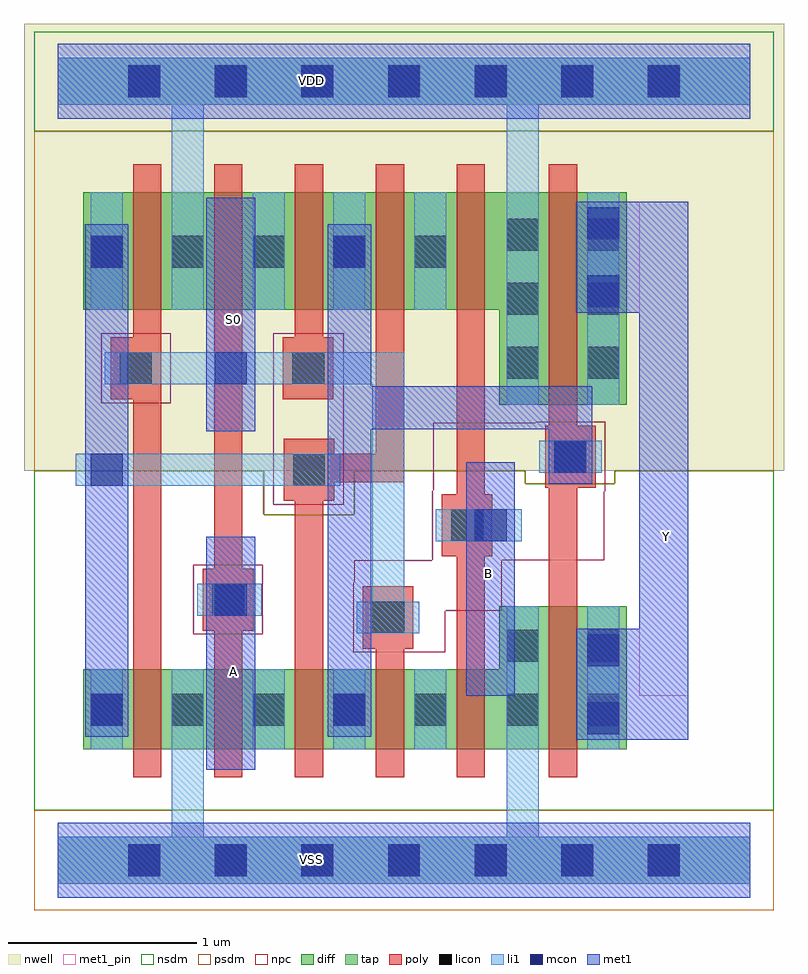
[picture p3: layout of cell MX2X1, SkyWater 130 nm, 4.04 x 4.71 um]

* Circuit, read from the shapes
.subckt MX2X1 A B S0 VDD VSS Y
XM1 VSS S0 n1 VSS sky130_fd_pr__nfet_01v8 w=0.425 l=0.15
XM2 n2 A VSS VSS sky130_fd_pr__nfet_01v8 w=0.425 l=0.15
XM3 n3 n1 n2 VSS sky130_fd_pr__nfet_01v8 w=0.425 l=0.15
XM4 n4 S0 n3 VSS sky130_fd_pr__nfet_01v8 w=0.425 l=0.15
XM5 VSS B n4 VSS sky130_fd_pr__nfet_01v8 w=0.425 l=0.15
XM6 Y n3 VSS VSS sky130_fd_pr__nfet_01v8 w=0.76 l=0.15
XM7 VDD S0 n1 VDD sky130_fd_pr__pfet_01v8 w=0.625 l=0.15
XM8 n5 A VDD VDD sky130_fd_pr__pfet_01v8 w=0.625 l=0.15
XM9 n3 S0 n5 VDD sky130_fd_pr__pfet_01v8 w=0.625 l=0.15
XM10 n6 n1 n3 VDD sky130_fd_pr__pfet_01v8 w=0.625 l=0.15
XM11 VDD B n6 VDD sky130_fd_pr__pfet_01v8 w=0.625 l=0.15
XM12 Y n3 VDD VDD sky130_fd_pr__pfet_01v8 w=1.13 l=0.15
.ends

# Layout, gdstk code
from math import pi, radians
import gdstk
lib = gdstk.Library(unit=1e-6, precision=1e-09)
def R(c, l, rs):  # rectangles x0, y0, x1, y1
    for r in rs: c.add(gdstk.rectangle(r[:2], r[2:], *l))
def A(c, l, x, y, w, h, nx, ny, dx, dy):  # array of equal rectangles
    R(c, l, [(x+i*dx, y+j*dy, x+i*dx+w, y+j*dy+h) for i in range(nx) for j in range(ny)])
def P(c, l, *ps):  # polygons
    for p in ps: c.add(gdstk.Polygon(p, *l))
nwell = (64, 20)
diff = (65, 20)
tap = (65, 44)
poly = (66, 20)
licon = (66, 44)
li1 = (67, 20)
mcon = (67, 44)
met1_pin = (68, 16)
met1 = (68, 20)
nsdm = (93, 44)
psdm = (94, 20)
npc = (95, 20)

pfet_01v8_cdns_716492285 = lib.new_cell('pfet_01v8_CDNS_7164922852227')
R(pfet_01v8_cdns_716492285, nwell, [(-0.235,-0.18,0.555,0.805)])
R(pfet_01v8_cdns_716492285, diff, [(-0.055,0,0,0.625), (0,0,0.15,0.625), (0.15,0,0.375,0.625)])
R(pfet_01v8_cdns_716492285, poly, [(0,-0.15,0.15,-0.095), (0,-0.095,0.15,0), (0,0,0.15,0.625), (0,0.625,0.15,0.72), (0,0.72,0.15,0.775)])
R(pfet_01v8_cdns_716492285, psdm, [(-0.065,-0.13,0.385,0.755)])

nfet_01v8_cdns_716492285 = lib.new_cell('nfet_01v8_CDNS_71649228522183')
R(nfet_01v8_cdns_716492285, diff, [(-0.055,0,0,0.425), (0,0,0.15,0.425), (0.15,0,0.205,0.425)])
R(nfet_01v8_cdns_716492285, poly, [(0,-0.15,0.15,-0.095), (0,-0.095,0.15,0), (0,0,0.15,0.425), (0,0.425,0.15,0.52), (0,0.52,0.15,0.575)])
R(nfet_01v8_cdns_716492285, nsdm, [(-0.065,-0.13,0.215,0.555)])

c_nfet_01v8_cdns_716492285 = lib.new_cell('nfet_01v8_CDNS_71649228522184')
R(c_nfet_01v8_cdns_716492285, diff, [(-0.055,0,0,0.425), (0,0,0.15,0.425), (0.15,0,0.375,0.425)])
R(c_nfet_01v8_cdns_716492285, poly, [(0,-0.15,0.15,-0.095), (0,-0.095,0.15,0), (0,0,0.15,0.425), (0,0.425,0.15,0.52), (0,0.52,0.15,0.575)])
R(c_nfet_01v8_cdns_716492285, nsdm, [(-0.065,-0.13,0.385,0.555)])

c_nfet_01v8_cdns_716492285_ = lib.new_cell('nfet_01v8_CDNS_71649228522185')
R(c_nfet_01v8_cdns_716492285_, diff, [(-0.055,0,0,0.425), (0,0,0.15,0.425), (0.15,0,0.375,0.425)])
R(c_nfet_01v8_cdns_716492285_, poly, [(0,-0.15,0.15,-0.095), (0,-0.095,0.15,0), (0,0,0.15,0.425), (0,0.425,0.15,0.52), (0,0.52,0.15,0.575)])
R(c_nfet_01v8_cdns_716492285_, licon, [(0.205,0.125,0.375,0.295)])
R(c_nfet_01v8_cdns_716492285_, li1, [(0.205,0,0.375,0.425)])
R(c_nfet_01v8_cdns_716492285_, nsdm, [(-0.065,-0.13,0.385,0.555)])

c_pfet_01v8_cdns_716492285 = lib.new_cell('pfet_01v8_CDNS_7164922852222')
R(c_pfet_01v8_cdns_716492285, nwell, [(-0.235,-0.18,0.555,0.805)])
R(c_pfet_01v8_cdns_716492285, diff, [(-0.055,0,0,0.625), (0,0,0.15,0.625), (0.15,0,0.375,0.625)])
R(c_pfet_01v8_cdns_716492285, poly, [(0,-0.15,0.15,-0.095), (0,-0.095,0.15,0), (0,0,0.15,0.625), (0,0.625,0.15,0.72), (0,0.72,0.15,0.775)])
R(c_pfet_01v8_cdns_716492285, licon, [(0.205,0.225,0.375,0.395)])
R(c_pfet_01v8_cdns_716492285, li1, [(0.205,0,0.375,0.625)])
R(c_pfet_01v8_cdns_716492285, psdm, [(-0.065,-0.13,0.385,0.755)])

c_pfet_01v8_cdns_716492285_ = lib.new_cell('pfet_01v8_CDNS_7164922852219')
R(c_pfet_01v8_cdns_716492285_, nwell, [(-0.405,-0.18,0.595,0.805)])
R(c_pfet_01v8_cdns_716492285_, diff, [(-0.225,0,0,0.625), (0,0,0.15,0.625), (0.15,0,0.415,0.625)])
R(c_pfet_01v8_cdns_716492285_, poly, [(0,-0.15,0.15,-0.095), (0,-0.095,0.15,0), (0,0,0.15,0.625), (0,0.625,0.15,0.72), (0,0.72,0.15,0.775)])
R(c_pfet_01v8_cdns_716492285_, licon, [(-0.225,0.225,-0.055,0.395), (0.205,0.225,0.375,0.395)])
R(c_pfet_01v8_cdns_716492285_, li1, [(-0.225,0,-0.055,0.625), (0.205,0,0.375,0.625)])
R(c_pfet_01v8_cdns_716492285_, psdm, [(-0.235,-0.13,0.555,0.755)])

c_nfet_01v8_cdns_716492285__ = lib.new_cell('nfet_01v8_CDNS_7164922852234')
R(c_nfet_01v8_cdns_716492285__, diff, [(-0.265,0,0,0.76), (0,0,0.15,0.76), (0.15,0,0.415,0.76)])
R(c_nfet_01v8_cdns_716492285__, poly, [(0,-0.15,0.15,-0.095), (0,-0.095,0.15,0), (0,0,0.15,0.76), (0,0.76,0.15,0.855), (0,0.855,0.15,0.91)])
R(c_nfet_01v8_cdns_716492285__, licon, [(-0.225,0.125,-0.055,0.295), (0.205,0.125,0.375,0.295), (-0.225,0.465,-0.055,0.635), (0.205,0.465,0.375,0.635)])
R(c_nfet_01v8_cdns_716492285__, li1, [(-0.225,0,-0.055,0.76), (0.205,0,0.375,0.76)])
R(c_nfet_01v8_cdns_716492285__, nsdm, [(-0.405,-0.13,0.555,0.89)])

c_nfet_01v8_cdns_716492285___ = lib.new_cell('nfet_01v8_CDNS_7164922852247')
R(c_nfet_01v8_cdns_716492285___, diff, [(-0.075,0,0,0.425), (0,0,0.15,0.425), (0.15,0,0.375,0.425)])
R(c_nfet_01v8_cdns_716492285___, poly, [(0,-0.15,0.15,-0.095), (0,-0.095,0.15,0), (0,0,0.15,0.425), (0,0.425,0.15,0.52), (0,0.52,0.15,0.575)])
R(c_nfet_01v8_cdns_716492285___, nsdm, [(0.045,-0.13,0.385,0.555)])

c_nfet_01v8_cdns_716492285____ = lib.new_cell('nfet_01v8_CDNS_716492285226')
R(c_nfet_01v8_cdns_716492285____, diff, [(-0.225,0,0,0.425), (0,0,0.15,0.425), (0.15,0,0.415,0.425)])
R(c_nfet_01v8_cdns_716492285____, poly, [(0,-0.15,0.15,-0.095), (0,-0.095,0.15,0), (0,0,0.15,0.425), (0,0.425,0.15,0.52), (0,0.52,0.15,0.575)])
R(c_nfet_01v8_cdns_716492285____, licon, [(-0.225,0.125,-0.055,0.295), (0.205,0.125,0.375,0.295)])
R(c_nfet_01v8_cdns_716492285____, li1, [(-0.225,0,-0.055,0.425), (0.205,0,0.375,0.425)])
R(c_nfet_01v8_cdns_716492285____, nsdm, [(-0.235,-0.13,0.555,0.555)])

c_pfet_01v8_cdns_716492285__ = lib.new_cell('pfet_01v8_CDNS_7164922852238')
R(c_pfet_01v8_cdns_716492285__, nwell, [(-0.445,-0.18,0.595,1.31)])
R(c_pfet_01v8_cdns_716492285__, diff, [(-0.265,0,0,1.13), (0,0,0.15,1.13), (0.15,0,0.415,1.13)])
R(c_pfet_01v8_cdns_716492285__, poly, [(0,-0.15,0.15,-0.095), (0,-0.095,0.15,0), (0,0,0.15,1.13), (0,1.13,0.15,1.225), (0,1.225,0.15,1.28)])
A(c_pfet_01v8_cdns_716492285__, licon, -0.225, 0.14, 0.17, 0.17, 1, 3, 0, 0.34)
A(c_pfet_01v8_cdns_716492285__, licon, 0.205, 0.14, 0.17, 0.17, 1, 3, 0, 0.34)
R(c_pfet_01v8_cdns_716492285__, li1, [(-0.225,0,-0.055,1.13), (0.205,0,0.375,1.13)])
R(c_pfet_01v8_cdns_716492285__, psdm, [(-0.405,-0.13,0.555,1.26)])

c_pfet_01v8_cdns_716492285___ = lib.new_cell('pfet_01v8_CDNS_71649228522102')
R(c_pfet_01v8_cdns_716492285___, nwell, [(-0.235,-0.18,0.385,0.805)])
R(c_pfet_01v8_cdns_716492285___, diff, [(-0.055,0,0,0.625), (0,0,0.15,0.625), (0.15,0,0.205,0.625)])
R(c_pfet_01v8_cdns_716492285___, poly, [(0,-0.15,0.15,-0.095), (0,-0.095,0.15,0), (0,0,0.15,0.625), (0,0.625,0.15,0.72), (0,0.72,0.15,0.775)])
R(c_pfet_01v8_cdns_716492285___, psdm, [(-0.065,-0.13,0.215,0.755)])

c_pfet_01v8_cdns_716492285____ = lib.new_cell('pfet_01v8_CDNS_7164922852251')
R(c_pfet_01v8_cdns_716492285____, nwell, [(-0.255,-0.18,0.555,0.805)])
R(c_pfet_01v8_cdns_716492285____, diff, [(-0.075,0,0,0.625), (0,0,0.15,0.625), (0.15,0,0.375,0.625)])
R(c_pfet_01v8_cdns_716492285____, poly, [(0,-0.15,0.15,-0.095), (0,-0.095,0.15,0), (0,0,0.15,0.625), (0,0.625,0.15,0.72), (0,0.72,0.15,0.775)])
R(c_pfet_01v8_cdns_716492285____, psdm, [(0.045,-0.13,0.385,0.755)])

pyl1con_c_cdns_716492285 = lib.new_cell('PYL1CON_C_CDNS_716492285220')
R(pyl1con_c_cdns_716492285, poly, [(-0.135,-0.165,0.135,0.165)])
R(pyl1con_c_cdns_716492285, licon, [(-0.085,-0.085,0.085,0.085)])
R(pyl1con_c_cdns_716492285, npc, [(-0.185,-0.185,0.185,0.185)])

l1m1_c_cdns_716492285222 = lib.new_cell('L1M1_C_CDNS_716492285222')
R(l1m1_c_cdns_716492285222, li1, [(-0.085,-0.165,0.085,0.165)])
R(l1m1_c_cdns_716492285222, mcon, [(-0.085,-0.085,0.085,0.085)])
R(l1m1_c_cdns_716492285222, met1, [(-0.115,-0.145,0.115,0.145)])

l1m1_c_cdns_716492285223 = lib.new_cell('L1M1_C_CDNS_7164922852233')
R(l1m1_c_cdns_716492285223, li1, [(-0.085,-0.345,0.085,0.345)])
R(l1m1_c_cdns_716492285223, mcon, [(-0.085,-0.265,0.085,-0.095), (-0.085,0.095,0.085,0.265)])
R(l1m1_c_cdns_716492285223, met1, [(-0.145,-0.295,0.195,0.295)])

c_l1m1_c_cdns_716492285223 = lib.new_cell('L1M1_C_CDNS_716492285223')
R(c_l1m1_c_cdns_716492285223, li1, [(-0.165,-0.085,0.165,0.085)])
R(c_l1m1_c_cdns_716492285223, mcon, [(-0.085,-0.085,0.085,0.085)])
R(c_l1m1_c_cdns_716492285223, met1, [(-0.115,-0.145,0.115,0.145)])

licondiff_c_cdns_7164922 = lib.new_cell('LICONDIFF_C_CDNS_7164922852213')
R(licondiff_c_cdns_7164922, diff, [(-0.125,-0.145,0.125,0.145)])
R(licondiff_c_cdns_7164922, licon, [(-0.085,-0.085,0.085,0.085), (-0.085,-0.085,0.085,0.085)])

mx2x1 = lib.new_cell('MX2X1')
R(mx2x1, nwell, [(-0.18,2.07,3.86,4.305), (-0.18,3.875,3.86,4.445)])
A(mx2x1, licon, 0.375, -0.085, 0.17, 0.17, 7, 2, 0.46, 4.14)
A(mx2x1, mcon, 0.375, -0.085, 0.17, 0.17, 7, 2, 0.46, 4.14)
R(mx2x1, met1_pin, [(0.79,0.48,1.05,1.72), (2.17,0.875,2.43,2.115), (3.09,0.875,3.35,3.5), (0.79,2.28,1.05,3.52)])
R(mx2x1, nsdm, [(-0.125,3.875,3.805,4.405), (-0.125,3.93,3.805,4.35)])
P(mx2x1, nsdm, [(3.805,2.07),(2.96,2.07),(2.96,2),(2.485,2),(2.485,2.07),(1.575,2.07),(1.575,1.835),(1.095,1.835),(1.095,2.07),(-0.125,2.07),(-0.125,0.265),(3.805,0.265)])
R(mx2x1, psdm, [(-0.125,-0.265,3.805,0.265), (-0.125,-0.21,3.805,0.21)])
P(mx2x1, psdm, [(3.805,3.875),(-0.125,3.875),(-0.125,2.07),(1.095,2.07),(1.095,1.835),(1.575,1.835),(1.575,2.07),(2.485,2.07),(2.485,2),(2.96,2),(2.96,2.07),(3.805,2.07)])
R(mx2x1, npc, [(1.995,1.595,2.905,2.325), (1.145,1.89,1.52,2.8)])
P(mx2x1, npc, [(2.36,1.595),(1.575,1.595),(1.575,1.105),(2.06,1.105),(2.06,1.325),(2.36,1.325)])
mx2x1.add(gdstk.FlexPath([(1.765,1.11),(1.765,1.35)], 0.15, ends=(0, 0.075), simple_path=True, layer=66, datatype=20))  # poly
mx2x1.add(gdstk.FlexPath([(1.335,2.615),(1.33,2.615)], 0.15, ends=(0.075, 0), simple_path=True, layer=66, datatype=20))  # poly
mx2x1.add(gdstk.FlexPath([(1.335,2.775),(1.335,2.605)], 0.15, ends=(0, 0.075), simple_path=True, layer=66, datatype=20))  # poly
mx2x1.add(gdstk.FlexPath([(1.335,1.165),(1.335,2.085)], 0.15, ends=(0, 0.075), simple_path=True, layer=66, datatype=20))  # poly
mx2x1.add(gdstk.FlexPath([(0.475,2.775),(0.475,1.165)], 0.15, ends="flush", simple_path=True, layer=66, datatype=20))  # poly
mx2x1.add(gdstk.FlexPath([(1.335,2.085),(1.765,2.085)], 0.15, ends="extended", simple_path=True, layer=66, datatype=20))  # poly
mx2x1.add(gdstk.FlexPath([(1.765,2.085),(1.765,2.91)], 0.15, ends=(0.075, 0), simple_path=True, layer=66, datatype=20))  # poly
mx2x1.add(gdstk.FlexPath([(2.685,2.2),(2.685,1.5)], 0.15, ends="flush", simple_path=True, layer=66, datatype=20))  # poly
mx2x1.add(gdstk.FlexPath([(2.195,2.775),(2.195,1.165)], 0.15, ends="flush", simple_path=True, layer=66, datatype=20))  # poly
mx2x1.add(gdstk.FlexPath([(1.765,1.35),(1.755,1.35)], 0.15, ends=(0.075, 0), simple_path=True, layer=66, datatype=20))  # poly
mx2x1.add(gdstk.FlexPath([(0.905,2.775),(0.905,1.165)], 0.15, ends="flush", simple_path=True, layer=66, datatype=20))  # poly
mx2x1.add(gdstk.FlexPath([(1.12,3.025),(1.12,3.405)], 0.17, ends="flush", simple_path=True, layer=67, datatype=20))  # li1
mx2x1.add(gdstk.FlexPath([(1.12,3.405),(1.12,3.55)], 0.17, ends="flush", simple_path=True, layer=67, datatype=20))  # li1
mx2x1.add(gdstk.FlexPath([(1.12,2.925),(1.12,3.025)], 0.17, ends="flush", simple_path=True, layer=67, datatype=20))  # li1
mx2x1.add(gdstk.FlexPath([(1.98,2.925),(1.98,3.025)], 0.17, ends="flush", simple_path=True, layer=67, datatype=20))  # li1
mx2x1.add(gdstk.FlexPath([(1.98,3.405),(1.98,3.55)], 0.17, ends="flush", simple_path=True, layer=67, datatype=20))  # li1
mx2x1.add(gdstk.FlexPath([(1.98,3.025),(1.98,3.405)], 0.17, ends="flush", simple_path=True, layer=67, datatype=20))  # li1
mx2x1.add(gdstk.FlexPath([(1.92,1.29),(1.59,1.29)], 0.17, ends="flush", simple_path=True, layer=67, datatype=20))  # li1
mx2x1.add(gdstk.FlexPath([(1.98,0.69),(1.98,1.015)], 0.17, ends="flush", simple_path=True, layer=67, datatype=20))  # li1
mx2x1.add(gdstk.FlexPath([(1.12,0.59),(1.12,0.69)], 0.17, ends="flush", simple_path=True, layer=67, datatype=20))  # li1
mx2x1.add(gdstk.FlexPath([(0.26,2.075),(1.1,2.075)], 0.17, ends="flush", simple_path=True, layer=67, datatype=20))  # li1
mx2x1.add(gdstk.FlexPath([(1.1,2.075),(1.5,2.075)], 0.17, ends="flush", simple_path=True, layer=67, datatype=20))  # li1
mx2x1.add(gdstk.FlexPath([(2.3,1.78),(2.01,1.78)], 0.17, ends="flush", simple_path=True, layer=67, datatype=20))  # li1
mx2x1.add(gdstk.FlexPath([(0.25,2.615),(1.755,2.615)], 0.17, ends=(0, 0.085), simple_path=True, layer=67, datatype=20))  # li1
mx2x1.add(gdstk.FlexPath([(1.755,2.615),(1.755,1.285)], 0.17, ends=(0.085, 0), simple_path=True, layer=67, datatype=20))  # li1
mx2x1.add(gdstk.FlexPath([(1.12,0.69),(1.12,1.015)], 0.17, ends="flush", simple_path=True, layer=67, datatype=20))  # li1
mx2x1.add(gdstk.FlexPath([(1.98,0.59),(1.98,0.69)], 0.17, ends="flush", simple_path=True, layer=67, datatype=20))  # li1
mx2x1.add(gdstk.FlexPath([(0.92,1.385),(0.74,1.385)], 0.17, ends="flush", simple_path=True, layer=67, datatype=20))  # li1
mx2x1.add(gdstk.FlexPath([(0,4.14),(2.47,4.14)], 0.25, ends=(0, 0.085), simple_path=True, layer=67, datatype=20))  # li1
mx2x1.add(gdstk.FlexPath([(2.47,0),(3.68,0)], 0.25, ends=(0.085, 0), simple_path=True, layer=67, datatype=20))  # li1
mx2x1.add(gdstk.FlexPath([(0.69,0.59),(0.69,0)], 0.17, ends="flush", simple_path=True, layer=67, datatype=20))  # li1
mx2x1.add(gdstk.FlexPath([(0,0),(2.47,0)], 0.25, ends=(0, 0.085), simple_path=True, layer=67, datatype=20))  # li1
mx2x1.add(gdstk.FlexPath([(2.47,0.59),(2.47,0)], 0.17, ends=(0, 0.125), simple_path=True, layer=67, datatype=20))  # li1
mx2x1.add(gdstk.FlexPath([(2.47,3.55),(2.47,4.14)], 0.17, ends=(0, 0.125), simple_path=True, layer=67, datatype=20))  # li1
mx2x1.add(gdstk.FlexPath([(0.69,3.55),(0.69,4.14)], 0.17, ends="flush", simple_path=True, layer=67, datatype=20))  # li1
mx2x1.add(gdstk.FlexPath([(2.47,4.14),(3.68,4.14)], 0.25, ends=(0.085, 0), simple_path=True, layer=67, datatype=20))  # li1
mx2x1.add(gdstk.FlexPath([(3.22,0.64),(3.22,3.5)], 0.26, ends="flush", simple_path=True, layer=68, datatype=20))  # met1
mx2x1.add(gdstk.FlexPath([(0.26,3.235),(0.26,0.8)], 0.23, ends="flush", simple_path=True, layer=68, datatype=20))  # met1
mx2x1.add(gdstk.FlexPath([(2.84,2.405),(1.55,2.405)], 0.23, ends=(0, 0.115), simple_path=True, layer=68, datatype=20))  # met1
mx2x1.add(gdstk.FlexPath([(0.92,2.28),(0.92,3.52)], 0.26, ends="flush", simple_path=True, layer=68, datatype=20))  # met1
mx2x1.add(gdstk.FlexPath([(2.3,2.115),(2.3,0.875)], 0.26, ends="flush", simple_path=True, layer=68, datatype=20))  # met1
mx2x1.add(gdstk.FlexPath([(1.55,0.8),(1.55,3.235)], 0.23, ends="flush", simple_path=True, layer=68, datatype=20))  # met1
mx2x1.add(gdstk.FlexPath([(0.92,0.48),(0.92,1.72)], 0.26, ends="flush", simple_path=True, layer=68, datatype=20))  # met1
mx2x1.add(gdstk.FlexPath([(0,0),(3.68,0)], 0.4, ends="flush", simple_path=True, layer=68, datatype=20))  # met1
mx2x1.add(gdstk.FlexPath([(0,4.14),(3.68,4.14)], 0.4, ends="flush", simple_path=True, layer=68, datatype=20))  # met1
mx2x1.add(gdstk.FlexPath([(0,4.14),(3.68,4.14)], 0.25, ends="flush", simple_path=True, layer=65, datatype=44))  # tap
mx2x1.add(gdstk.FlexPath([(0,0),(3.68,0)], 0.25, ends="flush", simple_path=True, layer=65, datatype=44))  # tap
mx2x1.add(gdstk.FlexPath([(0,0),(3.68,0)], 0.4, ends="flush", simple_path=True, layer=68, datatype=16))  # met1_pin
mx2x1.add(gdstk.FlexPath([(0,4.14),(3.68,4.14)], 0.4, ends="flush", simple_path=True, layer=68, datatype=16))  # met1_pin
mx2x1.add(gdstk.Reference(pfet_01v8_cdns_716492285, (0.83,2.925)))
mx2x1.add(gdstk.Reference(nfet_01v8_cdns_716492285, (1.84,0.59), rotation=pi, x_reflection=True))
mx2x1.add(gdstk.Reference(c_nfet_01v8_cdns_716492285, (0.83,0.59)))
mx2x1.add(gdstk.Reference(c_nfet_01v8_cdns_716492285_, (1.26,0.59)))
mx2x1.add(gdstk.Reference(c_pfet_01v8_cdns_716492285, (1.26,2.925)))
mx2x1.add(gdstk.Reference(c_pfet_01v8_cdns_716492285_, (0.55,2.925), rotation=pi, x_reflection=True))
mx2x1.add(gdstk.Reference(c_nfet_01v8_cdns_716492285__, (2.61,0.59)))
mx2x1.add(gdstk.Reference(c_nfet_01v8_cdns_716492285___, (2.27,0.59), rotation=pi, x_reflection=True))
mx2x1.add(gdstk.Reference(c_nfet_01v8_cdns_716492285____, (0.55,0.59), rotation=pi, x_reflection=True))
mx2x1.add(gdstk.Reference(c_pfet_01v8_cdns_716492285__, (2.61,2.42)))
mx2x1.add(gdstk.Reference(c_pfet_01v8_cdns_716492285___, (1.84,2.925), rotation=pi, x_reflection=True))
mx2x1.add(gdstk.Reference(c_pfet_01v8_cdns_716492285____, (2.27,2.925), rotation=pi, x_reflection=True))
mx2x1.add(gdstk.Reference(pyl1con_c_cdns_716492285, (2.725,2.145), x_reflection=True))
mx2x1.add(gdstk.Reference(pyl1con_c_cdns_716492285, (2.175,1.78), x_reflection=True))
mx2x1.add(gdstk.Reference(pyl1con_c_cdns_716492285, (0.905,1.385), x_reflection=True))
mx2x1.add(gdstk.Reference(pyl1con_c_cdns_716492285, (1.335,2.075), x_reflection=True))
mx2x1.add(gdstk.Reference(pyl1con_c_cdns_716492285, (1.755,1.29), x_reflection=True))
mx2x1.add(gdstk.Reference(pyl1con_c_cdns_716492285, (1.33,2.615), x_reflection=True))
mx2x1.add(gdstk.Reference(pyl1con_c_cdns_716492285, (0.415,2.615), x_reflection=True))
mx2x1.add(gdstk.Reference(l1m1_c_cdns_716492285222, (0.26,3.235)))
mx2x1.add(gdstk.Reference(l1m1_c_cdns_716492285222, (0.26,0.8)))
mx2x1.add(gdstk.Reference(l1m1_c_cdns_716492285222, (1.55,0.8)))
mx2x1.add(gdstk.Reference(l1m1_c_cdns_716492285222, (1.55,3.235)))
mx2x1.add(gdstk.Reference(l1m1_c_cdns_716492285223, (2.9,3.205)))
mx2x1.add(gdstk.Reference(l1m1_c_cdns_716492285223, (2.9,0.935)))
mx2x1.add(gdstk.Reference(c_l1m1_c_cdns_716492285223, (0.92,1.385), x_reflection=True))
mx2x1.add(gdstk.Reference(c_l1m1_c_cdns_716492285223, (2.3,1.78), rotation=pi, x_reflection=True))
mx2x1.add(gdstk.Reference(c_l1m1_c_cdns_716492285223, (2.725,2.145)))
mx2x1.add(gdstk.Reference(c_l1m1_c_cdns_716492285223, (0.92,2.615), x_reflection=True))
mx2x1.add(gdstk.Reference(c_l1m1_c_cdns_716492285223, (0.26,2.075)))
mx2x1.add(gdstk.Reference(licondiff_c_cdns_7164922, (1.98,0.8)))
mx2x1.add(gdstk.Reference(licondiff_c_cdns_7164922, (1.12,0.8)))
mx2x1.add(gdstk.Reference(licondiff_c_cdns_7164922, (1.98,3.235)))
mx2x1.add(gdstk.Reference(licondiff_c_cdns_7164922, (1.12,3.235)))
mx2x1.add(gdstk.Label('VSS', (1.35,0.005), layer=68, texttype=5))
mx2x1.add(gdstk.Label('A', (0.935,1.005), layer=68, texttype=5))
mx2x1.add(gdstk.Label('VDD', (1.35,4.145), layer=68, texttype=5))
mx2x1.add(gdstk.Label('B', (2.29,1.525), layer=68, texttype=5))
mx2x1.add(gdstk.Label('S0', (0.935,2.875), layer=68, texttype=5))
mx2x1.add(gdstk.Label('Y', (3.235,1.72), layer=68, texttype=5))

lib.write_gds('MX2X1.gds')
